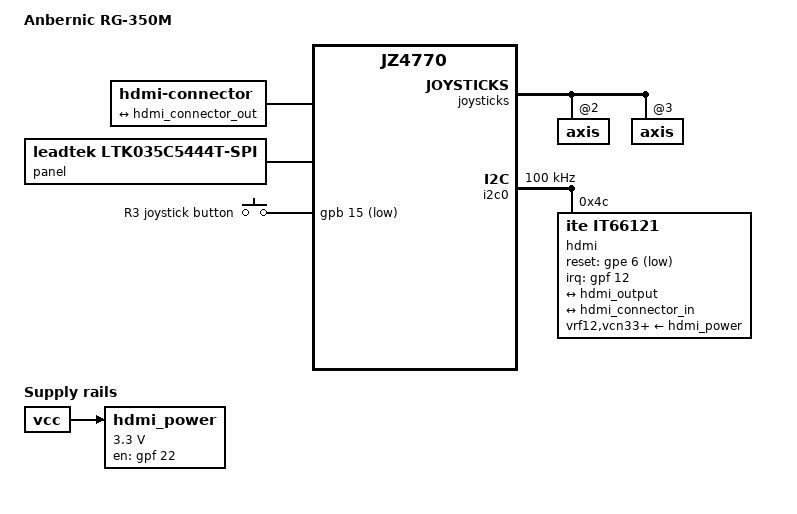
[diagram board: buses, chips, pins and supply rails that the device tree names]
// SPDX-License-Identifier: GPL-2.0
/dts-v1/;

#include "rg280m.dts"

#include <dt-bindings/interrupt-controller/irq.h>

/ {
	compatible = "ylm,rg350m", "ingenic,jz4770";
	model = "Anbernic RG-350M";

	hdmi_power: regulator@3 {
		compatible = "regulator-fixed";
		regulator-name = "hdmi_pwr";
		gpio = <&gpf 22 0>;
		enable-active-high;

		regulator-min-microvolt = <3300000>;
		regulator-max-microvolt = <3300000>;
		vin-supply = <&vcc>;
	};

	hdmi-connector {
		compatible = "hdmi-connector";
		label = "hdmi";

		type = "c";

		port {
			hdmi_connector_in: endpoint {
				remote-endpoint = <&hdmi_connector_out>;
			};
		};
	};
};

&panel {
	compatible = "leadtek,ltk035c5444t-spi";
	spi-max-frequency = <15000000>;
};

&pins_lcd {
	groups = "lcd-24bit";
};

&gpio_keys {
	button@18 {
		label = "R3 joystick button";
		linux,code = <KEY_KPDOT>;
		linux,can-disable;
		gpios = <&gpb 15 GPIO_ACTIVE_LOW>;
	};
};

&joysticks {
	io-channels = <&adc INGENIC_ADC_TOUCH_YP>,
		      <&adc INGENIC_ADC_TOUCH_XP>,
		      <&adc INGENIC_ADC_TOUCH_YN>,
		      <&adc INGENIC_ADC_TOUCH_XN>;

	axis@2 {
		reg = <2>;
		linux,code = <ABS_RX>;
		abs-range = <200 3000>;
		abs-fuzz = <4>;
		abs-flat = <200>;
	};

	axis@3 {
		reg = <3>;
		linux,code = <ABS_RY>;
		abs-range = <200 3000>;
		abs-fuzz = <4>;
		abs-flat = <200>;
	};
};

&i2c0 {
	status = "okay";

	clock-frequency = <100000>; /* 100 kHz */

	hdmi@4c {
		compatible = "ite,it66121";
		reg = <0x4c>;

		interrupt-parent = <&gpf>;
		interrupts = <12 IRQ_TYPE_EDGE_FALLING>;
		interrupt-names = "irq";

		reset-gpios = <&gpe 6 GPIO_ACTIVE_LOW>;

		pinctrl-names = "default";
		pinctrl-0 = <&pins_it6610>;

		vrf12-supply = <&hdmi_power>;
		vcn33-supply = <&hdmi_power>;
		vcn18-supply = <&hdmi_power>;

		ports {
			#address-cells = <1>;
			#size-cells = <0>;

			port@0 {
				reg = <0>;

				it66121_input: endpoint {
					bus-width = <24>;
					remote-endpoint = <&hdmi_output>;
				};
			};

			port@1 {
				reg = <1>;

				hdmi_connector_out: endpoint {
					remote-endpoint = <&hdmi_connector_in>;
				};
			};
		};
	};
};

&hdmi_output {
	remote-endpoint = <&it66121_input>;
};

&hdmi_input {
	remote-endpoint = <&hdmi_input>;
};
